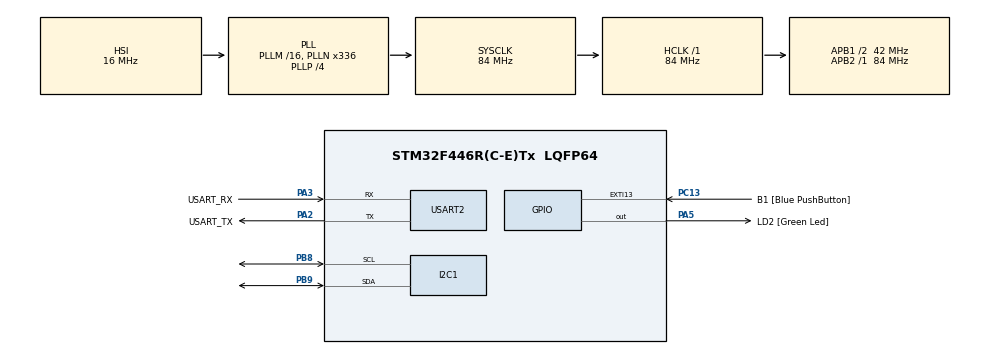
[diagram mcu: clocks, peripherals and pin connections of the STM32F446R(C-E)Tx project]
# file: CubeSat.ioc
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Mcu.Family=STM32F4
Mcu.Name=STM32F446R(C-E)Tx
Mcu.Package=LQFP64
NVIC.PriorityGroup=NVIC_PRIORITYGROUP_0
PA13.GPIO_Label=TMS
PA13.Mode=Serial_Wire
PA13.Signal=SYS_JTMS-SWDIO
PA14.GPIO_Label=TCK
PA14.Mode=Serial_Wire
PA14.Signal=SYS_JTCK-SWCLK
PA2.GPIO_Label=USART_TX
PA2.Mode=Asynchronous
PA2.Signal=USART2_TX
PA3.GPIO_Label=USART_RX
PA3.Mode=Asynchronous
PA3.Signal=USART2_RX
PA5.GPIO_Label=LD2 [Green Led]
PA5.Signal=GPIO_Output
PB3.GPIO_Label=SWO
PB3.Signal=SYS_JTDO-SWO
PB8.Mode=I2C
PB8.Signal=I2C1_SCL
PB9.Mode=I2C
PB9.Signal=I2C1_SDA
PC13.GPIO_Label=B1 [Blue PushButton]
PC13.GPIO_ModeDefaultEXTI=GPIO_MODE_IT_FALLING
PC13.Signal=GPXTI13
PC14-OSC32_IN.Mode=LSE-External-Oscillator
PC14-OSC32_IN.Signal=RCC_OSC32_IN
PC15-OSC32_OUT.Mode=LSE-External-Oscillator
PC15-OSC32_OUT.Signal=RCC_OSC32_OUT
PH0-OSC_IN.Mode=HSE-External-Oscillator
PH0-OSC_IN.Signal=RCC_OSC_IN
PH1-OSC_OUT.Mode=HSE-External-Oscillator
PH1-OSC_OUT.Signal=RCC_OSC_OUT
ProjectManager.HeapSize=0x200
ProjectManager.StackSize=0x400
ProjectManager.TargetToolchain=STM32CubeIDE
RCC.48MHZClocksFreq_Value=84000000
RCC.AHBFreq_Value=84000000
RCC.APB1CLKDivider=RCC_HCLK_DIV2
RCC.APB1Freq_Value=42000000
RCC.APB1TimFreq_Value=84000000
RCC.APB2Freq_Value=84000000
RCC.APB2TimFreq_Value=84000000
RCC.CortexFreq_Value=84000000
RCC.FLatency-AdvancedSettings=FLASH_LATENCY_2
RCC.HCLKFreq_Value=84000000
RCC.HSE_VALUE=8000000
RCC.HSI_VALUE=16000000
RCC.PLLN=336
RCC.PLLP=RCC_PLLP_DIV4
RCC.SYSCLKFreq_VALUE=84000000
RCC.SYSCLKSource=RCC_SYSCLKSOURCE_PLLCLK
RCC.USBFreq_Value=168000000
RCC.VCOOutputFreq_Value=336000000
USART2.VirtualMode=VM_ASYNC
board=NUCLEO-F446RE

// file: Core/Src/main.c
/* USER CODE BEGIN Header */
/**
  ******************************************************************************
  * @file           : main.c
  * @brief          : Main program body
  ******************************************************************************
  * @attention
  *
  * Copyright (c) 2026 STMicroelectronics.
  * All rights reserved.
  *
  * This software is licensed under terms that can be found in the LICENSE file
  * in the root directory of this software component.
  * If no LICENSE file comes with this software, it is provided AS-IS.
  *
  ******************************************************************************
  */
/* USER CODE END Header */
#include "main.h"
#include <string.h>
#include <stdio.h>

/* USER CODE BEGIN PD */
#define BMP280_ADDR (0x76 << 1)
#define BMP280_CALIBRATION_LSB_REGISTER 0x88
#define BMP280_PRESSURE_MSB_REGISTER 0xF7
#define BMP280_TEMPERATURE_MSB_REGISTER 0xFA
#define BMP280_CONTROL_REGISTER 0xF4
/* USER CODE END PD */

I2C_HandleTypeDef hi2c1;

UART_HandleTypeDef huart2;

void SystemClock_Config(void);
static void MX_GPIO_Init(void);
static void MX_USART2_UART_Init(void);
static void MX_I2C1_Init(void);

/* USER CODE BEGIN 0 */
typedef struct
{
	uint16_t dig_T1;
	int16_t dig_T2;
	int16_t dig_T3;
	uint16_t dig_P1;
	int16_t dig_P2;
	int16_t dig_P3;
	int16_t dig_P4;
	int16_t dig_P5;
	int16_t dig_P6;
	int16_t dig_P7;
	int16_t dig_P8;
	int16_t dig_P9;
} BMP280_Calibration_Data;

BMP280_Calibration_Data BMP280_Calibrate(void)
{
	uint8_t reg = BMP280_CALIBRATION_LSB_REGISTER;
	uint8_t raw_data[24];
	BMP280_Calibration_Data calib;

	HAL_I2C_Master_Transmit(&hi2c1, BMP280_ADDR, &reg, 1, HAL_MAX_DELAY);
	HAL_I2C_Master_Receive(&hi2c1, BMP280_ADDR, raw_data, 24, HAL_MAX_DELAY);

	// Format data according to BMP280 Datasheet
	calib.dig_T1 = (uint16_t) (raw_data[1] << 8) | raw_data[0];
	calib.dig_T2 = (int16_t) (raw_data[3] << 8) | raw_data[2];
	calib.dig_T3 = (int16_t) (raw_data[5] << 8) | raw_data[4];
	calib.dig_P1 = (uint16_t) (raw_data[7] << 8) | raw_data[6];
	calib.dig_P2 = (int16_t) (raw_data[9] << 8) | raw_data[8];
	calib.dig_P3 = (int16_t) (raw_data[11] << 8) | raw_data[10];
	calib.dig_P4 = (int16_t) (raw_data[13] << 8) | raw_data[12];
	calib.dig_P5 = (int16_t) (raw_data[15] << 8) | raw_data[14];
	calib.dig_P6 = (int16_t) (raw_data[17] << 8) | raw_data[16];
	calib.dig_P7 = (int16_t) (raw_data[19] << 8) | raw_data[18];
	calib.dig_P8 = (int16_t) (raw_data[21] << 8) | raw_data[20];
	calib.dig_P9 = (int16_t) (raw_data[23] << 8) | raw_data[22];

	char msg[50] = "Calibration Complete!";
	HAL_UART_Transmit(&huart2, (uint8_t*)msg, strlen(msg), HAL_MAX_DELAY);

	return calib;
}

int32_t BMP280_CompensateTemp(BMP280_Calibration_Data* calib, int32_t* t_fine, int32_t adc_t)
{
	int32_t var1, var2, T;
	var1 = ((((adc_t >> 3) - ((int32_t)calib->dig_T1 << 1))) * ((int32_t)calib->dig_T2)) >> 11;
	var2 = (((((adc_t >> 4) - ((int32_t)calib->dig_T1)) * ((adc_t >> 4) - ((int32_t)calib->dig_T1))) >> 12) * ((int32_t)calib->dig_T3)) >> 14;

	*t_fine = var1 + var2;

	T = (*t_fine * 5 + 128) >> 8;

	return T;
}

uint32_t BMP280_CompensatePressure(BMP280_Calibration_Data* calib, int32_t* t_fine, int32_t adc_p)
{
	// Conversion from datasheet
	int64_t var1, var2, p;
	var1 = ((int64_t)*t_fine) - 128000;
	var2 = var1 * var1 * (int64_t)calib->dig_P6;
	var2 = var2 + ((var1 * (int64_t)calib->dig_P5) << 17);
	var2 = var2 + (((int64_t)calib->dig_P4) << 35);
	var1 = ((var1 * var1 * (int64_t)calib->dig_P3) >> 8) + ((var1 * (int64_t)calib->dig_P2) << 12);
	var1 = (((((int64_t)1) << 47) + var1)) * ((int64_t)calib->dig_P1) >> 33;

	if(var1 == 0)
	{
		return 0;
	}

    p = 1048576 - adc_p;
    p = (((p << 31) - var2) * 3125) / var1;
    var1 = (((int64_t)calib->dig_P9) * (p >> 13) * (p >> 13)) >> 25;
    var2 = (((int64_t)calib->dig_P8) * p) >> 19;
    p = ((p + var1 + var2) >> 8) + (((int64_t)calib->dig_P7) << 4);

    return (uint32_t)p;
}

void BMP280_ReadData(BMP280_Calibration_Data* calib, int32_t* t_fine, float* temperature, float* pressure)
{
	uint8_t reg = BMP280_PRESSURE_MSB_REGISTER;
	uint8_t data[6];

	HAL_I2C_Master_Transmit(&hi2c1, BMP280_ADDR, &reg, 1, HAL_MAX_DELAY);
	HAL_I2C_Master_Receive(&hi2c1, BMP280_ADDR, data, 6, HAL_MAX_DELAY);

	int32_t adc_t = (int32_t)(((uint32_t)data[3] << 12) | ((uint32_t)data[4] << 4) | ((uint32_t)data[5] >> 4));
	int32_t raw_temp = BMP280_CompensateTemp(calib, t_fine, adc_t);
	*temperature = (float)raw_temp / 100.0f;

	int32_t adc_p = (int32_t)(((uint32_t)data[0] << 12) | ((uint32_t)data[1] << 4) | ((uint32_t)data[2] >> 4));
	uint32_t raw_pressure = BMP280_CompensatePressure(calib, t_fine, adc_p);
	*pressure = (float)raw_pressure / 25600.0f;
}
/* USER CODE END 0 */

int main(void)
{

  /* MCU Configuration--------------------------------------------------------*/

  /* Reset of all peripherals, Initializes the Flash interface and the Systick. */
  HAL_Init();

  /* Configure the system clock */
  SystemClock_Config();

  /* Initialize all configured peripherals */
  MX_GPIO_Init();
  MX_USART2_UART_Init();
  MX_I2C1_Init();
  /* USER CODE BEGIN 2 */
  uint8_t who_am_i = 0;
  uint8_t id_register = 0xD0;

  HAL_I2C_Master_Transmit(&hi2c1, 0x76 << 1, &id_register, 1, HAL_MAX_DELAY);
  HAL_I2C_Master_Receive(&hi2c1, 0x76 << 1, &who_am_i, 1, HAL_MAX_DELAY);

  char id_msg[40];
  sprintf(id_msg, "BMP280 Chip ID: 0x%02X\r\n", who_am_i);
  HAL_UART_Transmit(&huart2, (uint8_t*)id_msg, strlen(id_msg), HAL_MAX_DELAY);

  // Configure BMP280 into normal mode
  uint8_t configuration[2] = {BMP280_CONTROL_REGISTER, 0x27};
  HAL_I2C_Master_Transmit(&hi2c1, BMP280_ADDR, configuration, 2, HAL_MAX_DELAY);
  BMP280_Calibration_Data calib_data = BMP280_Calibrate();
  int32_t t_fine = 0;

  /* USER CODE END 2 */

  /* Infinite loop */
  while (1)
  {
	// BMP280 Read Temperature
	float temperature = 0.0f;
	float pressure = 0.0f;
	BMP280_ReadData(&calib_data, &t_fine, &temperature, &pressure);
	char msg[60];
	sprintf(msg, "Temp: %.2f C | Pressure: %.2f hPa\r\n", temperature, pressure);
	HAL_UART_Transmit(&huart2, (uint8_t*)msg, strlen(msg), HAL_MAX_DELAY);
	HAL_Delay(1000);

  }
}

void SystemClock_Config(void)
{
  RCC_OscInitTypeDef RCC_OscInitStruct = {0};
  RCC_ClkInitTypeDef RCC_ClkInitStruct = {0};

  /** Configure the main internal regulator output voltage
  */
  __HAL_RCC_PWR_CLK_ENABLE();
  __HAL_PWR_VOLTAGESCALING_CONFIG(PWR_REGULATOR_VOLTAGE_SCALE3);

  /** Initializes the RCC Oscillators according to the specified parameters
  * in the RCC_OscInitTypeDef structure.
  */
  RCC_OscInitStruct.OscillatorType = RCC_OSCILLATORTYPE_HSI;
  RCC_OscInitStruct.HSIState = RCC_HSI_ON;
  RCC_OscInitStruct.HSICalibrationValue = RCC_HSICALIBRATION_DEFAULT;
  RCC_OscInitStruct.PLL.PLLState = RCC_PLL_ON;
  RCC_OscInitStruct.PLL.PLLSource = RCC_PLLSOURCE_HSI;
  RCC_OscInitStruct.PLL.PLLM = 16;
  RCC_OscInitStruct.PLL.PLLN = 336;
  RCC_OscInitStruct.PLL.PLLP = RCC_PLLP_DIV4;
  RCC_OscInitStruct.PLL.PLLQ = 2;
  RCC_OscInitStruct.PLL.PLLR = 2;
  if (HAL_RCC_OscConfig(&RCC_OscInitStruct) != HAL_OK)
  {
    Error_Handler();
  }

  /** Initializes the CPU, AHB and APB buses clocks
  */
  RCC_ClkInitStruct.ClockType = RCC_CLOCKTYPE_HCLK|RCC_CLOCKTYPE_SYSCLK
                              |RCC_CLOCKTYPE_PCLK1|RCC_CLOCKTYPE_PCLK2;
  RCC_ClkInitStruct.SYSCLKSource = RCC_SYSCLKSOURCE_PLLCLK;
  RCC_ClkInitStruct.AHBCLKDivider = RCC_SYSCLK_DIV1;
  RCC_ClkInitStruct.APB1CLKDivider = RCC_HCLK_DIV2;
  RCC_ClkInitStruct.APB2CLKDivider = RCC_HCLK_DIV1;

  if (HAL_RCC_ClockConfig(&RCC_ClkInitStruct, FLASH_LATENCY_2) != HAL_OK)
  {
    Error_Handler();
  }
}

static void MX_I2C1_Init(void)
{

  hi2c1.Instance = I2C1;
  hi2c1.Init.ClockSpeed = 100000;
  hi2c1.Init.DutyCycle = I2C_DUTYCYCLE_2;
  hi2c1.Init.OwnAddress1 = 0;
  hi2c1.Init.AddressingMode = I2C_ADDRESSINGMODE_7BIT;
  hi2c1.Init.DualAddressMode = I2C_DUALADDRESS_DISABLE;
  hi2c1.Init.OwnAddress2 = 0;
  hi2c1.Init.GeneralCallMode = I2C_GENERALCALL_DISABLE;
  hi2c1.Init.NoStretchMode = I2C_NOSTRETCH_DISABLE;
  if (HAL_I2C_Init(&hi2c1) != HAL_OK)
  {
    Error_Handler();
  }

}

static void MX_USART2_UART_Init(void)
{

  huart2.Instance = USART2;
  huart2.Init.BaudRate = 115200;
  huart2.Init.WordLength = UART_WORDLENGTH_8B;
  huart2.Init.StopBits = UART_STOPBITS_1;
  huart2.Init.Parity = UART_PARITY_NONE;
  huart2.Init.Mode = UART_MODE_TX_RX;
  huart2.Init.HwFlowCtl = UART_HWCONTROL_NONE;
  huart2.Init.OverSampling = UART_OVERSAMPLING_16;
  if (HAL_UART_Init(&huart2) != HAL_OK)
  {
    Error_Handler();
  }

}

static void MX_GPIO_Init(void)
{
  GPIO_InitTypeDef GPIO_InitStruct = {0};

  /* GPIO Ports Clock Enable */
  __HAL_RCC_GPIOC_CLK_ENABLE();
  __HAL_RCC_GPIOH_CLK_ENABLE();
  __HAL_RCC_GPIOA_CLK_ENABLE();
  __HAL_RCC_GPIOB_CLK_ENABLE();

  /*Configure GPIO pin Output Level */
  HAL_GPIO_WritePin(LD2_GPIO_Port, LD2_Pin, GPIO_PIN_RESET);

  /*Configure GPIO pin : B1_Pin */
  GPIO_InitStruct.Pin = B1_Pin;
  GPIO_InitStruct.Mode = GPIO_MODE_IT_FALLING;
  GPIO_InitStruct.Pull = GPIO_NOPULL;
  HAL_GPIO_Init(B1_GPIO_Port, &GPIO_InitStruct);

  /*Configure GPIO pin : LD2_Pin */
  GPIO_InitStruct.Pin = LD2_Pin;
  GPIO_InitStruct.Mode = GPIO_MODE_OUTPUT_PP;
  GPIO_InitStruct.Pull = GPIO_NOPULL;
  GPIO_InitStruct.Speed = GPIO_SPEED_FREQ_LOW;
  HAL_GPIO_Init(LD2_GPIO_Port, &GPIO_InitStruct);

}

void Error_Handler(void)
{
  __disable_irq();
  while (1)
  {
  }
}
